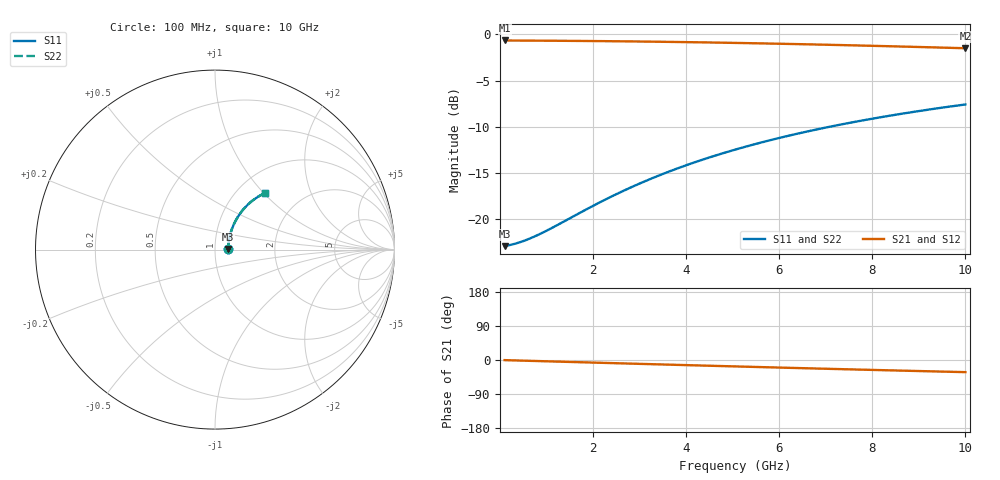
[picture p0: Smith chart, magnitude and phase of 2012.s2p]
# Hz S RI R 50.00
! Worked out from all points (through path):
!   100 points, 100 MHz to 10 GHz, reference 50 ohm
!   highest |S21| = -0.64 dB at 100 MHz (marker M1); lowest = -1.5 dB at 10 GHz (marker M2)
!   group delay of S21, straight-line fit = 8.93 ps
!   lowest |S11| = -22.9 dB at 100 MHz (marker M3), VSWR 1.15, Z = 57.7 + j0.491 ohm
!   |S11| at or under -10 dB: start of sweep to 7.063 GHz
!   |S22| runs from -22.9 to -7.6 dB; largest |S21 - S12| = 0
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1e8  0.0715 0.00423  0.9284 -0.00554  0.9284 -0.00554  0.0715 0.00423
3e8  0.0725 0.0127  0.9275 -0.0166  0.9275 -0.0166  0.0725 0.0127
4e8  0.0729 0.0169  0.927 -0.0221  0.927 -0.0221  0.0729 0.0169
5e8  0.0734 0.0211  0.9266 -0.0276  0.9266 -0.0276  0.0734 0.0211
7e8  0.0743 0.0294  0.9256 -0.0386  0.9256 -0.0386  0.0743 0.0294
9e8  0.0754 0.0378  0.9245 -0.0496  0.9245 -0.0496  0.0754 0.0378
1.1e9  0.0767 0.0461  0.9232 -0.0606  0.9232 -0.0606  0.0767 0.0461
1.8e9  0.0824 0.0748  0.9173 -0.0985  0.9173 -0.0985  0.0824 0.0748
2.2e9  0.0867 0.091  0.9129 -0.1199  0.9129 -0.1199  0.0867 0.091
2.6e9  0.0916 0.1068  0.9077 -0.141  0.9077 -0.141  0.0916 0.1068
3e9  0.0973 0.1223  0.9019 -0.1618  0.9019 -0.1618  0.0973 0.1223
3.4e9  0.1036 0.1375  0.8954 -0.1823  0.8954 -0.1823  0.1036 0.1375
3.8e9  0.1105 0.1523  0.8881 -0.2023  0.8881 -0.2023  0.1105 0.1523
4.2e9  0.1181 0.1666  0.8803 -0.222  0.8803 -0.222  0.1181 0.1666
4.6e9  0.1263 0.1805  0.8718 -0.2412  0.8718 -0.2412  0.1263 0.1805
5.1e9  0.1373 0.1972  0.8604 -0.2645  0.8604 -0.2645  0.1373 0.1972
5.9e9  0.1565 0.2222  0.8403 -0.3001  0.8403 -0.3001  0.1565 0.2222
6.7e9  0.1775 0.245  0.8184 -0.3335  0.8184 -0.3335  0.1775 0.245
7.5e9  0.1999 0.2655  0.7949 -0.3647  0.7949 -0.3647  0.1999 0.2655
8.4e9  0.2266 0.2857  0.7669 -0.3969  0.7669 -0.3969  0.2266 0.2857
9.2e9  0.2512 0.3011  0.741 -0.4231  0.741 -0.4231  0.2512 0.3011
1e10  0.2764 0.3141  0.7144 -0.4469  0.7144 -0.4469  0.2764 0.3141
